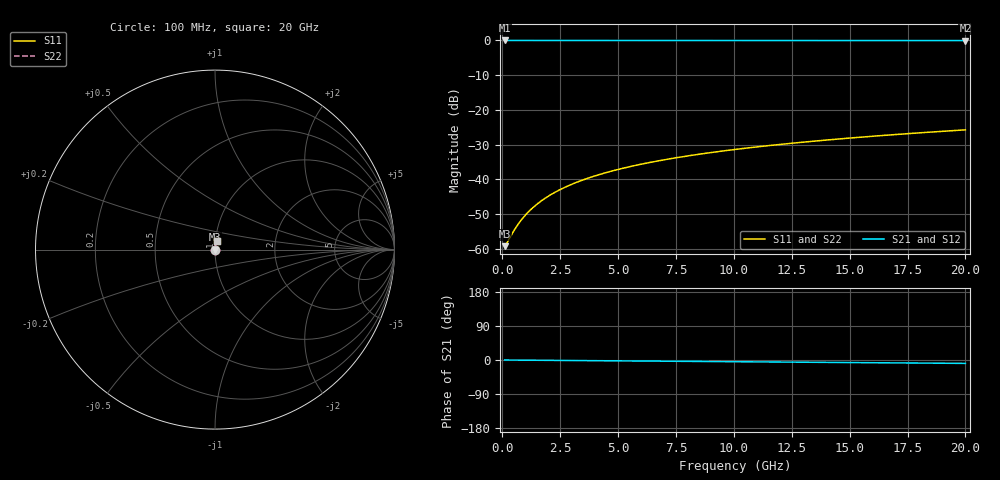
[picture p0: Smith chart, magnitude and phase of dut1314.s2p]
! Touchstone file exported from HFSS 2026.1.0
!  File:  C:/ffzhzh/LocalFiles/Ansys_Project_Files/temp_train_TSV_1314_1783195004_55132.aedt
!  Generated:  03:59:23 AM Jul  5, 2026
!  Design:  TSV
!  Project:  temp_train_TSV_1314_1783195004_55132
! Variables:
!  h_bsmrdl = 2um
!  h_ox = 20um
!  h_rdl = 5um
!  h_sub = 90.7um
!  h_tmrdl = 5um
!  h_tsv = 90.7um
!  h_via = 3um
!  l_bsmrdl = 300um
!  l_sub = 406.36um
!  l_tmrdl = 200um
!  m_sub = 200um
!  pitch = 21.6um
!  r_tsv = 3.18um
!  s_tmrdl = 10um
!  w_bsmrdl = 18um
!  w_sub = 500um
!  w_tmrdl = 12um
!  x_tsv_center1 = 206um
!  x_tsv_center2 = 524um
!  x_tsv_center3 = 736um
!  x_tsv_center4 = 1054um
!  x_tsv_center5 = 1266um
!  x_tsv_center6 = 1584um
# GHz S MA R 50.000000
! Terminal data exported
! Port[1] = TSV1_1_T1
! Port[2] = TSV1_1_T2
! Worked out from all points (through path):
!   200 points, 100 MHz to 20 GHz, reference 50 ohm
!   highest |S21| = -0.01 dB at 100 MHz (marker M1); lowest = 0.0 dB at 20 GHz (marker M2)
!   group delay of S21, straight-line fit = 1.24 ps
!   lowest |S11| = -59.3 dB at 100 MHz (marker M3), VSWR 1.00, Z = 50.1 + j0.0299 ohm
!   |S11| at or under -10 dB: start of sweep to end of sweep
!   |S22| runs from -59.3 to -25.8 dB; largest |S21 - S12| = 4.3e-15
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0.1  0.001089 15.9  0.999 -0.0  0.999 -0.0  0.001089 15.9
! Gamma 0 0 0 0
! Port Impedance 50 0 50 0
0.2  0.001214 29.2  0.9989 -0.1  0.9989 -0.1  0.001214 29.2
0.4  0.001593 46.8  0.9989 -0.2  0.9989 -0.2  0.001593 46.8
0.6  0.002049 57.0  0.9989 -0.3  0.9989 -0.3  0.002049 57.0
0.8  0.002543 63.4  0.9989 -0.4  0.9989 -0.4  0.002543 63.4
0.9  0.002798 65.7  0.9989 -0.4  0.9989 -0.4  0.002798 65.7
1.1  0.00332 69.3  0.9988 -0.5  0.9988 -0.5  0.00332 69.3
1.4  0.004121 72.8  0.9988 -0.6  0.9988 -0.6  0.004121 72.8
1.8  0.005205 75.7  0.9988 -0.8  0.9988 -0.8  0.005205 75.7
2.3  0.00657 77.8  0.9987 -1.1  0.9987 -1.1  0.00657 77.8
2.9  0.008209 79.2  0.9986 -1.3  0.9986 -1.3  0.008209 79.2
3.5  0.009842 80.0  0.9985 -1.6  0.9985 -1.6  0.009842 80.0
4.2  0.01173 80.5  0.9984 -1.9  0.9984 -1.9  0.01173 80.5
5  0.01387 80.7  0.9982 -2.3  0.9982 -2.3  0.01387 80.7
5.9  0.01625 80.7  0.998 -2.7  0.998 -2.7  0.01625 80.7
6.8  0.01861 80.7  0.9978 -3.1  0.9978 -3.1  0.01861 80.7
8.3  0.02247 80.4  0.9975 -3.8  0.9975 -3.8  0.02247 80.4
10.1  0.02704 80.0  0.9971 -4.6  0.9971 -4.6  0.02704 80.0
11.7  0.03106 79.5  0.9967 -5.3  0.9967 -5.3  0.03106 79.5
13.4  0.0353 79.1  0.9964 -6.0  0.9964 -6.0  0.0353 79.1
16.7  0.04346 78.0  0.9957 -7.5  0.9957 -7.5  0.04346 78.0
20  0.05154 76.9  0.995 -8.9  0.995 -8.9  0.05154 76.9
